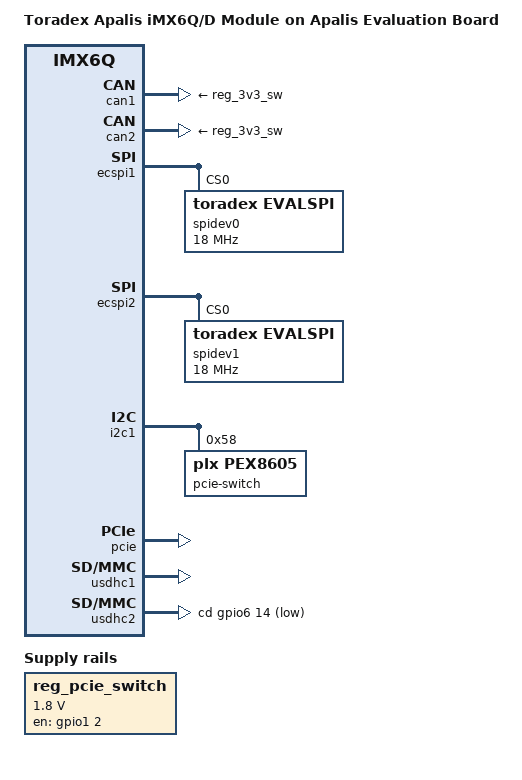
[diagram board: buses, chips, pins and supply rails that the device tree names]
/*
 * Copyright 2014-2017 Toradex AG
 * Copyright 2012 Freescale Semiconductor, Inc.
 * Copyright 2011 Linaro Ltd.
 *
 * This file is dual-licensed: you can use it either under the terms
 * of the GPL or the X11 license, at your option. Note that this dual
 * licensing only applies to this file, and not this project as a
 * whole.
 *
 *  a) This file is free software; you can redistribute it and/or
 *     modify it under the terms of the GNU General Public License
 *     version 2 as published by the Free Software Foundation.
 *
 *     This file is distributed in the hope that it will be useful,
 *     but WITHOUT ANY WARRANTY; without even the implied warranty of
 *     MERCHANTABILITY or FITNESS FOR A PARTICULAR PURPOSE.  See the
 *     GNU General Public License for more details.
 *
 * Or, alternatively,
 *
 *  b) Permission is hereby granted, free of charge, to any person
 *     obtaining a copy of this software and associated documentation
 *     files (the "Software"), to deal in the Software without
 *     restriction, including without limitation the rights to use,
 *     copy, modify, merge, publish, distribute, sublicense, and/or
 *     sell copies of the Software, and to permit persons to whom the
 *     Software is furnished to do so, subject to the following
 *     conditions:
 *
 *     The above copyright notice and this permission notice shall be
 *     included in all copies or substantial portions of the Software.
 *
 *     THE SOFTWARE IS PROVIDED "AS IS", WITHOUT WARRANTY OF ANY KIND,
 *     EXPRESS OR IMPLIED, INCLUDING BUT NOT LIMITED TO THE WARRANTIES
 *     OF MERCHANTABILITY, FITNESS FOR A PARTICULAR PURPOSE AND
 *     NONINFRINGEMENT. IN NO EVENT SHALL THE AUTHORS OR COPYRIGHT
 *     HOLDERS BE LIABLE FOR ANY CLAIM, DAMAGES OR OTHER LIABILITY,
 *     WHETHER IN AN ACTION OF CONTRACT, TORT OR OTHERWISE, ARISING
 *     FROM, OUT OF OR IN CONNECTION WITH THE SOFTWARE OR THE USE OR
 *     OTHER DEALINGS IN THE SOFTWARE.
 */

/dts-v1/;

#include "imx6q-apalis-eval.dtsi"

/ {
	model = "Toradex Apalis iMX6Q/D Module on Apalis Evaluation Board";
	compatible = "toradex,apalis_imx6q-eval", "toradex,apalis_imx6q",
		     "fsl,imx6q";

	reg_pcie_switch: regulator-pcie-switch {
		compatible = "regulator-fixed";
		regulator-name = "pcie_switch";
		regulator-min-microvolt = <1800000>;
		regulator-max-microvolt = <1800000>;
		gpio = <&gpio1 2 GPIO_ACTIVE_HIGH>;
		startup-delay-us = <100000>;
		enable-active-high;
		status = "okay";
	};
};

&can1 {
	xceiver-supply = <&reg_3v3_sw>;
	status = "okay";
};

&can2 {
	xceiver-supply = <&reg_3v3_sw>;
	status = "okay";
};

/* Apalis SPI1 */
&ecspi1 {
	status = "okay";

	spidev0: spidev@0 {
		compatible = "toradex,evalspi";
		reg = <0>;
		spi-max-frequency = <18000000>;
	};
};

/* Apalis SPI2 */
&ecspi2 {
	status = "okay";

	spidev1: spidev@0 {
		compatible = "toradex,evalspi";
		reg = <0>;
		spi-max-frequency = <18000000>;
	};
};

&clks {
	assigned-clocks = <&clks IMX6QDL_CLK_IPU1_DI1_PRE_SEL>,
			  <&clks IMX6QDL_CLK_IPU2_DI0_PRE_SEL>;
	assigned-clock-parents = <&clks IMX6QDL_CLK_PLL2_PFD2_396M>,
				 <&clks IMX6QDL_CLK_PLL2_PFD2_396M>;
};

/* I2C1_SDA/SCL on MXM3 209/211 (e.g. RTC on carrier board) */
&i2c1 {
	/* PCIe Switch */
	pcie-switch@58 {
		compatible = "plx,pex8605";
		reg = <0x58>;
	};
};

&pcie {
	vpcie-supply = <&reg_pcie_switch>;
	status = "okay";
};

&sound_spdif {
	status = "okay";
};

/* MMC1 */
&usdhc1 {
	status = "okay";
};

/* SD1 */
&usdhc2 {
	pinctrl-names = "default";
	pinctrl-0 = <&pinctrl_usdhc2 &pinctrl_sd_cd>;
	cd-gpios = <&gpio6 14 GPIO_ACTIVE_LOW>;
	status = "okay";
};
